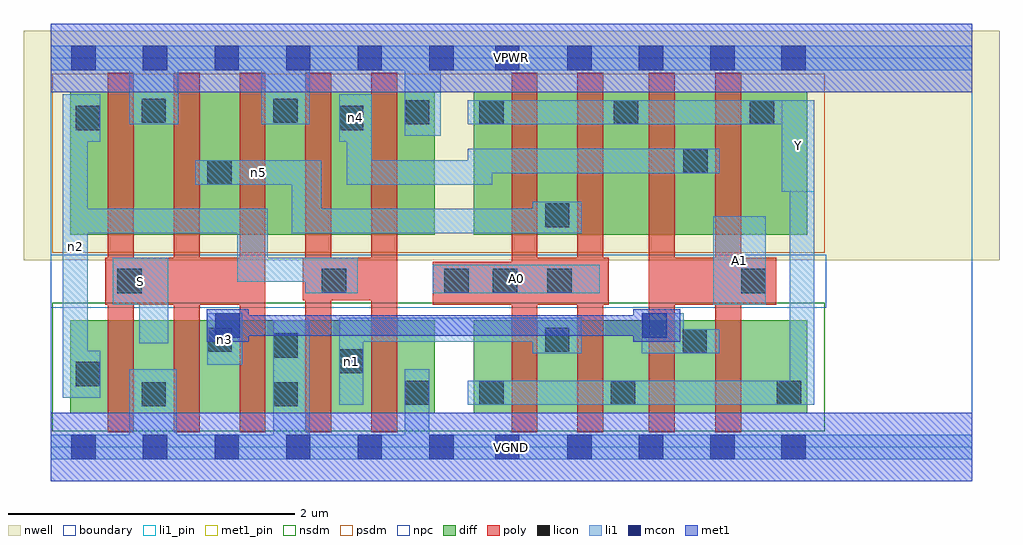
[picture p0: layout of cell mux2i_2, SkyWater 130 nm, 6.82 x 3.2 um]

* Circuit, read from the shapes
.subckt mux2i_2 A0 A1 S VGND VPWR Y n1 n2 n3 n4 n5
XM1 VGND S n2 VSUBS sky130_fd_pr__nfet_01v8 w=0.65 l=0.18
XM2 n3 S VGND VSUBS sky130_fd_pr__nfet_01v8 w=0.65 l=0.18 m=2
XM3 n1 n2 VGND VSUBS sky130_fd_pr__nfet_01v8 w=0.65 l=0.18 m=2
XM4 n1 A0 Y VSUBS sky130_fd_pr__nfet_01v8 w=0.65 l=0.18 m=2
XM5 n3 A1 Y VSUBS sky130_fd_pr__nfet_01v8 w=0.65 l=0.18 m=2
XM6 VPWR S n2 n6 sky130_fd_pr__pfet_01v8 w=1 l=0.18
XM7 n5 S VPWR n6 sky130_fd_pr__pfet_01v8 w=1 l=0.18 m=2
XM8 n4 n2 VPWR n6 sky130_fd_pr__pfet_01v8 w=1 l=0.18 m=2
XM9 n5 A0 Y n6 sky130_fd_pr__pfet_01v8 w=1 l=0.18 m=2
XM10 n4 A1 Y n6 sky130_fd_pr__pfet_01v8 w=1 l=0.18 m=2
.ends

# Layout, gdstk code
import gdstk
lib = gdstk.Library(unit=1e-6, precision=1e-09)
def R(c, l, rs):  # rectangles x0, y0, x1, y1
    for r in rs: c.add(gdstk.rectangle(r[:2], r[2:], *l))
def A(c, l, x, y, w, h, nx, ny, dx, dy):  # array of equal rectangles
    R(c, l, [(x+i*dx, y+j*dy, x+i*dx+w, y+j*dy+h) for i in range(nx) for j in range(ny)])
nwell = (64, 20)
diff = (65, 20)
poly = (66, 20)
licon = (66, 44)
li1_pin = (67, 16)
li1 = (67, 20)
mcon = (67, 44)
met1_pin = (68, 16)
met1 = (68, 20)
nsdm = (93, 44)
psdm = (94, 20)
npc = (95, 20)
boundary = (235, 4)

mux2i_2 = lib.new_cell('mux2i_2')
R(mux2i_2, nwell, [(-0.19,1.305,6.63,2.91), (0,1.305,6.44,2.91)])
R(mux2i_2, diff, [(0.135,0.235,2.685,0.885), (2.955,0.235,5.285,0.885), (0.135,1.485,2.685,2.485), (2.955,1.485,5.285,2.485)])
A(mux2i_2, poly, 0.4, 0.105, 0.18, 2.51, 5, 1, 0.46, 0)
R(mux2i_2, poly, [(3.22,0.105,3.4,2.615), (3.68,0.105,3.86,2.615), (4.18,0.105,4.36,2.615), (4.645,0.105,4.825,2.615), (0.38,0.995,1.5,1.325), (2.67,0.995,3.9,1.295), (3.22,0.995,3.9,1.325), (4.18,0.995,5.07,1.325), (1.76,1.025,2.42,1.325)])
R(mux2i_2, licon, [(0.635,0.285,0.805,0.455), (1.555,0.285,1.725,0.455), (2.475,0.295,2.645,0.465), (2.995,0.295,3.165,0.465), (3.915,0.295,4.085,0.465), (5.075,0.295,5.245,0.465), (0.175,0.425,0.345,0.595), (2.015,0.515,2.185,0.685), (1.555,0.625,1.725,0.795), (4.415,0.655,4.585,0.825), (1.095,0.665,1.265,0.835), (3.455,0.665,3.625,0.835), (0.465,1.075,0.635,1.245), (1.895,1.075,2.065,1.245), (2.75,1.075,2.92,1.245), (3.09,1.075,3.26,1.245), (3.47,1.075,3.64,1.245), (4.825,1.075,4.995,1.245), (3.455,1.535,3.625,1.705), (1.095,1.835,1.265,2.005), (4.42,1.915,4.59,2.085), (0.175,2.215,0.345,2.385), (2.015,2.215,2.185,2.385), (2.475,2.255,2.645,2.425), (2.995,2.255,3.165,2.425), (3.935,2.255,4.105,2.425), (4.885,2.255,5.055,2.425), (0.635,2.265,0.805,2.435), (1.555,2.265,1.725,2.435)])
R(mux2i_2, li1_pin, [(0.435,0.995,0.82,1.325), (4.63,0.995,4.995,1.615), (2.67,1.075,3.835,1.275), (5.11,1.785,5.335,2.425)])
R(mux2i_2, li1, [(0,-0.085,6.44,0.085), (0.55,-0.085,0.88,0.545), (1.555,-0.085,1.81,0.885), (2.475,-0.085,2.645,0.545), (2.015,0.295,2.185,0.905), (2.915,0.295,5.335,0.465), (5.165,0.295,5.335,2.425), (0.085,0.345,0.26,2.465), (0.085,0.345,0.345,0.675), (1.095,0.575,1.34,0.935), (3.37,0.655,3.71,0.905), (4.13,0.655,4.67,0.825), (4.13,0.655,4.425,0.935), (0.62,0.725,0.82,1.325), (2.015,0.735,3.71,0.905), (0.435,0.995,0.82,1.325), (4.63,0.995,4.995,1.615), (1.78,1.075,2.145,1.325), (2.67,1.075,3.835,1.275), (1.305,1.155,2.145,1.325), (1.305,1.155,1.515,1.665), (0.085,1.495,1.515,1.665), (1.685,1.495,3.71,1.665), (1.685,1.495,1.89,2.005), (3.37,1.495,3.71,1.715), (5.11,1.785,5.335,2.425), (1.01,1.835,1.89,2.005), (2.07,1.835,3.085,2.005), (2.07,1.835,2.245,2.465), (3.085,1.915,4.675,2.085), (2.915,2.005,4.675,2.085), (0.085,2.135,0.345,2.465), (2.015,2.135,2.245,2.465), (2.475,2.175,2.725,2.805), (0.55,2.255,0.89,2.805), (1.47,2.255,1.81,2.805), (2.915,2.255,5.335,2.425), (0,2.635,6.44,2.805)])
A(mux2i_2, mcon, 0.145, -0.085, 0.17, 0.17, 6, 2, 0.5, 2.72)
A(mux2i_2, mcon, 3.61, -0.085, 0.17, 0.17, 3, 2, 0.5, 2.72)
R(mux2i_2, mcon, [(3.105,-0.085,3.275,0.085), (5.105,-0.085,5.275,0.085), (1.15,0.765,1.32,0.935), (4.135,0.765,4.305,0.935), (3.105,2.635,3.275,2.805), (5.105,2.635,5.275,2.805)])
R(mux2i_2, met1_pin, [(0,-0.24,6.44,0.24), (0,2.48,6.44,2.96)])
R(mux2i_2, met1, [(0,-0.24,6.44,0.24), (1.09,0.735,1.385,0.965), (4.07,0.735,4.4,0.965), (1.09,0.78,4.4,0.92), (0,2.48,6.44,2.96)])
R(mux2i_2, nsdm, [(0.01,0.11,5.41,1.01)])
R(mux2i_2, psdm, [(0.01,1.36,5.41,2.61)])
R(mux2i_2, npc, [(0,0.975,5.42,1.345)])
R(mux2i_2, boundary, [(0,0,6.44,2.72)])
mux2i_2.add(gdstk.Label('A0', (3.252,1.175), layer=67, texttype=5))
mux2i_2.add(gdstk.Label('A1', (4.812,1.305), layer=67, texttype=5))
mux2i_2.add(gdstk.Label('S', (0.627,1.16), layer=67, texttype=5))
mux2i_2.add(gdstk.Label('Y', (5.222,2.105), layer=67, texttype=5))
mux2i_2.add(gdstk.Label('n1', (2.1,0.6), layer=67, texttype=5))
mux2i_2.add(gdstk.Label('n3', (1.217,0.755), layer=67, texttype=5))
mux2i_2.add(gdstk.Label('n5', (1.45,1.92), layer=67, texttype=5))
mux2i_2.add(gdstk.Label('n2', (0.172,1.405), layer=67, texttype=5))
mux2i_2.add(gdstk.Label('n4', (2.13,2.3), layer=67, texttype=5))
mux2i_2.add(gdstk.Label('VPWR', (3.22,2.72), layer=68, texttype=5))
mux2i_2.add(gdstk.Label('VGND', (3.22,0), layer=68, texttype=5))
mux2i_2.add(gdstk.Label('A0', (3.252,1.175), layer=67, texttype=16))
mux2i_2.add(gdstk.Label('A1', (4.812,1.305), layer=67, texttype=16))
mux2i_2.add(gdstk.Label('S', (0.627,1.16), layer=67, texttype=16))
mux2i_2.add(gdstk.Label('Y', (5.222,2.105), layer=67, texttype=16))
mux2i_2.add(gdstk.Label('VPWR', (3.22,2.72), layer=68, texttype=16))
mux2i_2.add(gdstk.Label('VGND', (3.22,0), layer=68, texttype=16))

lib.write_gds('mux2i_2.gds')
